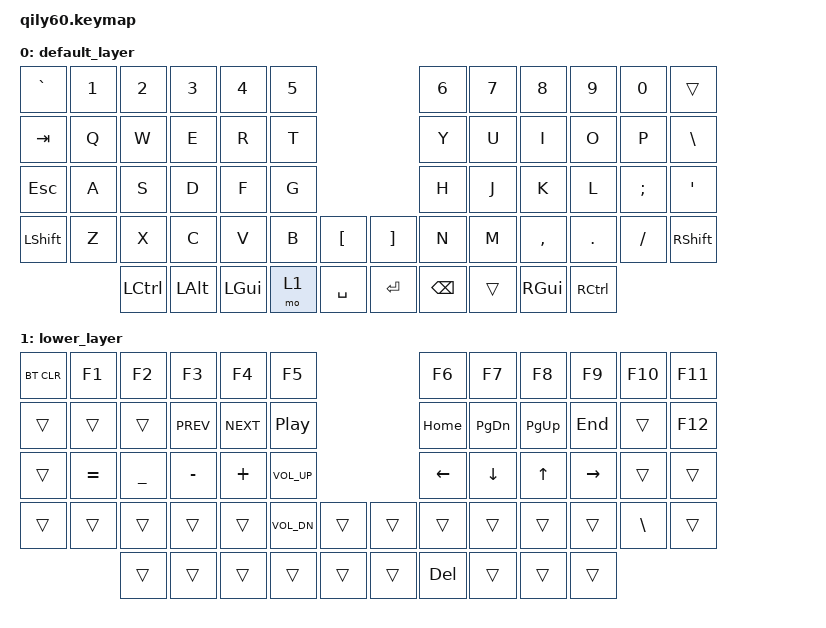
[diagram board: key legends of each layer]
/*
 * Copyright (c) 2020 The ZMK Contributors
 *
 * SPDX-License-Identifier: MIT
 */

#include <behaviors.dtsi>
#include <dt-bindings/zmk/keys.h>
#include <dt-bindings/zmk/bt.h>

/ {
    keymap {
        compatible = "zmk,keymap";

        default_layer {
            // ------------------------------------------------------------------------------------------------------------
            // |  ESC  |  1  |  2  |  3   |  4   |  5   |                   |  6   |  7    |  8    |  9   |   0   |   `   |
            // |  TAB  |  Q  |  W  |  E   |  R   |  T   |                   |  Y   |  U    |  I    |  O   |   P   |   -   |
            // |  CTRL |  A  |  S  |  D   |  F   |  G   |                   |  H   |  J    |  K    |  L   |   ;   |   '   |
            // | SHIFT |  Z  |  X  |  C   |  V   |  B   |   "["  |  |  "]"  |  N   |  M    |  ,    |  .   |   /   | SHIFT |
            //                     | ALT  | GUI  | LOWER|  SPACE |  | ENTER | RAISE| BSPC  | GUI   |

            bindings = <
&kp GRAVE   &kp N1  &kp N2      &kp N3    &kp N4    &kp N5                         &kp N6         &kp N7   &kp N8     &kp N9     &kp N0    &trans
&kp TAB     &kp Q   &kp W       &kp E     &kp R     &kp T                          &kp Y          &kp U    &kp I      &kp O      &kp P     &kp BACKSLASH 
&kp ESC     &kp A   &kp S       &kp D     &kp F     &kp G                          &kp H          &kp J    &kp K      &kp L      &kp SEMI  &kp SQT
&kp LSHIFT  &kp Z   &kp X       &kp C     &kp V     &kp B   &kp LBKT     &kp RBKT  &kp N          &kp M    &kp COMMA  &kp DOT    &kp FSLH  &kp RSHFT
                    &kp LCTRL   &kp LALT  &kp LGUI  &mo 1   &kp SPACE    &kp RET   &kp BACKSPACE  &trans   &kp RGUI   &kp RCTRL
            >;
        };

        lower_layer {
            // ------------------------------------------------------------------------------------------------------------
            // | BTCLR | BT1 | BT2 |  BT3 |  BT4 |  BT5 |                   |      |       |       |      |       |       |
            // |  F1   |  F2 |  F3 |  F4  |  F5  |  F6  |                   |  F7  |  F8   |  F9   |  F10 |  F11  |  F12  |
            // |   `   |  !  |  @  |  #   |  $   |  %   |                   |  ^   |  &    |  *    |  (   |   )   |   ~   |
            // |       |     |     |      |      |      |        |  |       |      |  _    |  +    |  {   |   }   |  "|"  |
            //                     |      |      |      |        |  |       |      |       |       |

            bindings = <
&bt BT_CLR  &kp F1     &kp F2       &kp F3      &kp F4      &kp F5                              &kp F6    &kp F7         &kp F8       &kp F9     &kp F10        &kp F11
&trans      &trans     &trans       &kp C_PREV  &kp C_NEXT  &kp C_PLAY_PAUSE                    &kp HOME  &kp PAGE_DOWN  &kp PAGE_UP  &kp END    &trans         &kp F12
&trans      &kp EQUAL  &kp UNDER    &kp MINUS   &kp PLUS    &kp C_VOL_UP                        &kp LEFT  &kp DOWN       &kp UP       &kp RIGHT  &trans         &trans
&trans      &trans     &trans       &trans      &trans      &kp C_VOL_DN      &trans    &trans  &trans    &trans         &trans       &trans     &kp BACKSLASH  &trans
                       &trans       &trans      &trans      &trans            &trans    &trans  &kp DEL   &trans         &trans       &trans
            >;
        };
    };
};
